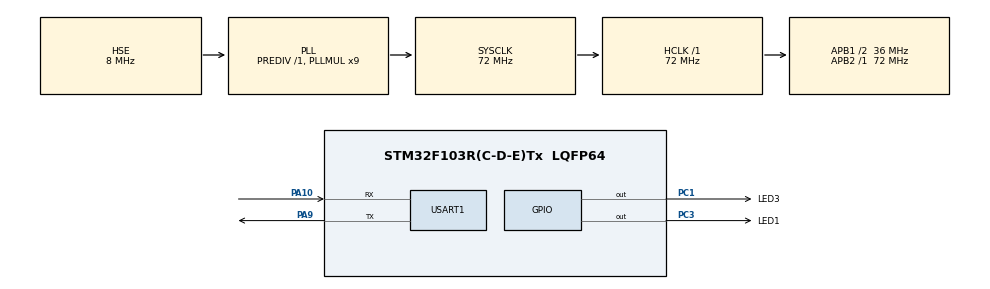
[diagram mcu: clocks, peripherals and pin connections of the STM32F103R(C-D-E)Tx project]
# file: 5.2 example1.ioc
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Mcu.Family=STM32F1
Mcu.Name=STM32F103R(C-D-E)Tx
Mcu.Package=LQFP64
NVIC.PriorityGroup=NVIC_PRIORITYGROUP_4
NVIC.TIM6_IRQn=true\:15\:0\:false\:false\:true\:false\:true\:true
NVIC.TimeBase=TIM6_IRQn
NVIC.TimeBaseIP=TIM6
PA10.Mode=Asynchronous
PA10.Signal=USART1_RX
PA13.Mode=Serial_Wire
PA13.Signal=SYS_JTMS-SWDIO
PA14.Mode=Serial_Wire
PA14.Signal=SYS_JTCK-SWCLK
PA9.Mode=Asynchronous
PA9.Signal=USART1_TX
PC1.GPIO_Label=LED3
PC1.Signal=GPIO_Output
PC3.GPIO_Label=LED1
PC3.Signal=GPIO_Output
PD0-OSC_IN.Mode=HSE-External-Oscillator
PD0-OSC_IN.Signal=RCC_OSC_IN
PD1-OSC_OUT.Mode=HSE-External-Oscillator
PD1-OSC_OUT.Signal=RCC_OSC_OUT
ProjectManager.HeapSize=0x200
ProjectManager.StackSize=0x400
ProjectManager.TargetToolchain=STM32CubeIDE
RCC.AHBFreq_Value=72000000
RCC.APB1CLKDivider=RCC_HCLK_DIV2
RCC.APB1Freq_Value=36000000
RCC.APB1TimFreq_Value=72000000
RCC.APB2Freq_Value=72000000
RCC.APB2TimFreq_Value=72000000
RCC.HCLKFreq_Value=72000000
RCC.PLLMUL=RCC_PLL_MUL9
RCC.PLLSourceVirtual=RCC_PLLSOURCE_HSE
RCC.SYSCLKFreq_VALUE=72000000
RCC.SYSCLKSource=RCC_SYSCLKSOURCE_PLLCLK
RCC.USBFreq_Value=72000000
USART1.VirtualMode=VM_ASYNC
VP_SYS_VS_tim6.Mode=TIM6
board=custom

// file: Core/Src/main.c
/* USER CODE BEGIN Header */
/**
  ******************************************************************************
  * @file           : main.c
  * @brief          : Main program body
  ******************************************************************************
  * @attention
  *
  * Copyright (c) 2026 STMicroelectronics.
  * All rights reserved.
  *
  * This software is licensed under terms that can be found in the LICENSE file
  * in the root directory of this software component.
  * If no LICENSE file comes with this software, it is provided AS-IS.
  *
  ******************************************************************************
  */
/* USER CODE END Header */
#include "main.h"

/* USER CODE BEGIN Includes */
#include "FreeRTOS.h"
#include "task.h"
/* USER CODE END Includes */

UART_HandleTypeDef huart1;

void SystemClock_Config(void);
static void MX_GPIO_Init(void);
static void MX_USART1_UART_Init(void);

/* USER CODE BEGIN 0 */
void vTask1(void *pvParameters)
	{
		// 1. 接收数字n
		uint8_t n;

		HAL_UART_Receive(&huart1, &n, 1, HAL_MAX_DELAY);

		// 2.分配一个长度为n的数组

		int *pBuffer = (int*)pvPortMalloc(sizeof(int) * n);

		//3.依次接收用户输入的n个整数
		for(int i=0; i<n; i++)
		{
			uint8_t num;

			HAL_UART_Receive(&huart1, &num, 1, HAL_MAX_DELAY);

			pBuffer[i] = num;
		}

		//4. 把n个整数通过串口打印出来
		for(int i=0; i<n; i++)
		{
			uint8_t num = pBuffer[i];
			HAL_UART_Transmit(&huart1, &num, 1, HAL_MAX_DELAY);
		}

		//5. 释放动态分配内存`
		vPortFree(pBuffer);

		vTaskDelete(NULL);
	}
/* USER CODE END 0 */

int main(void)
{

  /* MCU Configuration--------------------------------------------------------*/

  /* Reset of all peripherals, Initializes the Flash interface and the Systick. */
  HAL_Init();

  /* Configure the system clock */
  SystemClock_Config();

  /* Initialize all configured peripherals */
  MX_GPIO_Init();
  MX_USART1_UART_Init();
  /* USER CODE BEGIN 2 */
  xTaskCreate(vTask1, "Task1", 128, NULL, 1, NULL);

  vTaskStartScheduler();
  /* USER CODE END 2 */

  /* Infinite loop */
  while (1)
  {

  }
}

void SystemClock_Config(void)
{
  RCC_OscInitTypeDef RCC_OscInitStruct = {0};
  RCC_ClkInitTypeDef RCC_ClkInitStruct = {0};

  /** Initializes the RCC Oscillators according to the specified parameters
  * in the RCC_OscInitTypeDef structure.
  */
  RCC_OscInitStruct.OscillatorType = RCC_OSCILLATORTYPE_HSE;
  RCC_OscInitStruct.HSEState = RCC_HSE_ON;
  RCC_OscInitStruct.HSEPredivValue = RCC_HSE_PREDIV_DIV1;
  RCC_OscInitStruct.HSIState = RCC_HSI_ON;
  RCC_OscInitStruct.PLL.PLLState = RCC_PLL_ON;
  RCC_OscInitStruct.PLL.PLLSource = RCC_PLLSOURCE_HSE;
  RCC_OscInitStruct.PLL.PLLMUL = RCC_PLL_MUL9;
  if (HAL_RCC_OscConfig(&RCC_OscInitStruct) != HAL_OK)
  {
    Error_Handler();
  }

  /** Initializes the CPU, AHB and APB buses clocks
  */
  RCC_ClkInitStruct.ClockType = RCC_CLOCKTYPE_HCLK|RCC_CLOCKTYPE_SYSCLK
                              |RCC_CLOCKTYPE_PCLK1|RCC_CLOCKTYPE_PCLK2;
  RCC_ClkInitStruct.SYSCLKSource = RCC_SYSCLKSOURCE_PLLCLK;
  RCC_ClkInitStruct.AHBCLKDivider = RCC_SYSCLK_DIV1;
  RCC_ClkInitStruct.APB1CLKDivider = RCC_HCLK_DIV2;
  RCC_ClkInitStruct.APB2CLKDivider = RCC_HCLK_DIV1;

  if (HAL_RCC_ClockConfig(&RCC_ClkInitStruct, FLASH_LATENCY_2) != HAL_OK)
  {
    Error_Handler();
  }
}

static void MX_USART1_UART_Init(void)
{

  huart1.Instance = USART1;
  huart1.Init.BaudRate = 115200;
  huart1.Init.WordLength = UART_WORDLENGTH_8B;
  huart1.Init.StopBits = UART_STOPBITS_1;
  huart1.Init.Parity = UART_PARITY_NONE;
  huart1.Init.Mode = UART_MODE_TX_RX;
  huart1.Init.HwFlowCtl = UART_HWCONTROL_NONE;
  huart1.Init.OverSampling = UART_OVERSAMPLING_16;
  if (HAL_UART_Init(&huart1) != HAL_OK)
  {
    Error_Handler();
  }

}

static void MX_GPIO_Init(void)
{
  GPIO_InitTypeDef GPIO_InitStruct = {0};

  /* GPIO Ports Clock Enable */
  __HAL_RCC_GPIOD_CLK_ENABLE();
  __HAL_RCC_GPIOC_CLK_ENABLE();
  __HAL_RCC_GPIOA_CLK_ENABLE();

  /*Configure GPIO pin Output Level */
  HAL_GPIO_WritePin(GPIOC, LED3_Pin|LED1_Pin, GPIO_PIN_RESET);

  /*Configure GPIO pins : LED3_Pin LED1_Pin */
  GPIO_InitStruct.Pin = LED3_Pin|LED1_Pin;
  GPIO_InitStruct.Mode = GPIO_MODE_OUTPUT_PP;
  GPIO_InitStruct.Pull = GPIO_NOPULL;
  GPIO_InitStruct.Speed = GPIO_SPEED_FREQ_LOW;
  HAL_GPIO_Init(GPIOC, &GPIO_InitStruct);

}

void HAL_TIM_PeriodElapsedCallback(TIM_HandleTypeDef *htim)
{
  if (htim->Instance == TIM6)
  {
    HAL_IncTick();
  }
}

void Error_Handler(void)
{
  __disable_irq();
  while (1)
  {
  }
}
